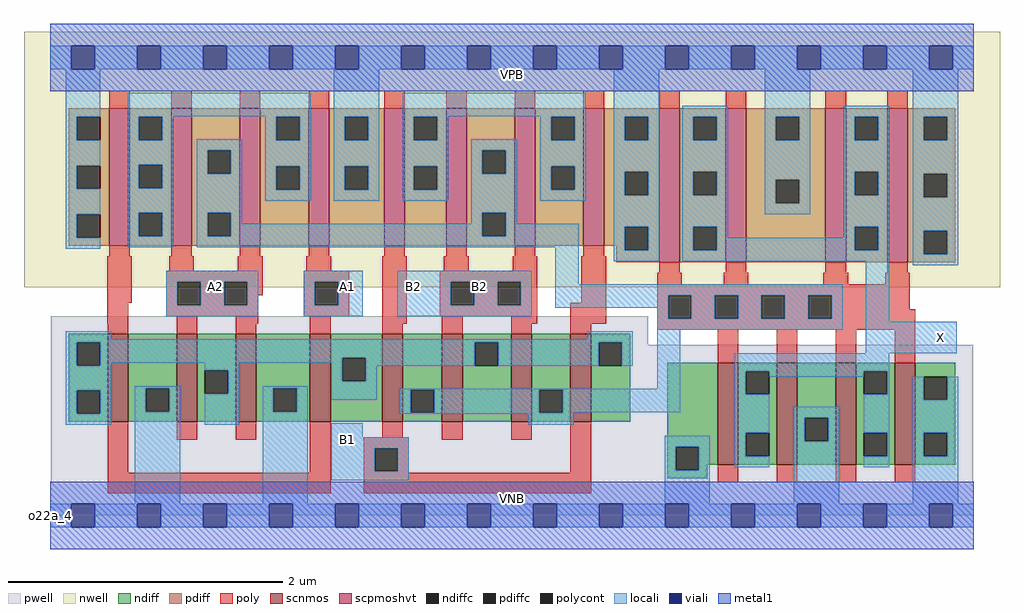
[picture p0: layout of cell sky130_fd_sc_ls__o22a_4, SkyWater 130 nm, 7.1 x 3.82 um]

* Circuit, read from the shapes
.subckt sky130_fd_sc_ls__o22a_4 A1 A2 B1 B2 VGND VNB VPB VPWR X
XM1 VGND A1 n1 VNB sky130_fd_pr__nfet_01v8 w=0.64 l=0.15 m=2
XM2 n1 A2 VGND VNB sky130_fd_pr__nfet_01v8 w=0.64 l=0.15 m=2
XM3 n2 B1 n1 VNB sky130_fd_pr__nfet_01v8 w=0.64 l=0.15 m=2
XM4 n1 B2 n2 VNB sky130_fd_pr__nfet_01v8 w=0.64 l=0.15 m=2
XM5 X n2 VGND VNB sky130_fd_pr__nfet_01v8 w=0.74 l=0.15 m=4
XM6 n3 A1 VPWR VPB sky130_fd_pr__pfet_01v8_hvt w=1 l=0.15 m=2
XM7 n2 A2 n3 VPB sky130_fd_pr__pfet_01v8_hvt w=1 l=0.15 m=2
XM8 n4 B1 VPWR VPB sky130_fd_pr__pfet_01v8_hvt w=1 l=0.15 m=2
XM9 n2 B2 n4 VPB sky130_fd_pr__pfet_01v8_hvt w=1 l=0.15 m=2
XM10 X n2 VPWR VPB sky130_fd_pr__pfet_01v8_hvt w=1.12 l=0.15 m=4
.ends

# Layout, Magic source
magic
tech sky130A
magscale 1 2
<< nwell >>
rect -38 332 1382 704
<< pwell >>
rect 1 248 870 290
rect 1 49 1343 248
rect 0 0 1344 49
<< scnmos >>
rect 84 136 114 264
rect 184 136 214 264
rect 270 136 300 264
rect 378 136 408 264
rect 483 136 513 264
rect 570 136 600 264
rect 671 136 701 264
rect 757 136 787 264
rect 971 74 1001 222
rect 1057 74 1087 222
rect 1143 74 1173 222
rect 1229 74 1259 222
<< scpmoshvt >>
rect 86 392 116 592
rect 176 392 206 592
rect 276 392 306 592
rect 376 392 406 592
rect 486 392 516 592
rect 576 392 606 592
rect 676 392 706 592
rect 776 392 806 592
rect 886 368 916 592
rect 983 368 1013 592
rect 1128 368 1158 592
rect 1218 368 1248 592
<< ndiff >>
rect 27 252 84 264
rect 27 218 39 252
rect 73 218 84 252
rect 27 182 84 218
rect 27 148 39 182
rect 73 148 84 182
rect 27 136 84 148
rect 114 185 184 264
rect 114 151 139 185
rect 173 151 184 185
rect 114 136 184 151
rect 214 211 270 264
rect 214 177 225 211
rect 259 177 270 211
rect 214 136 270 177
rect 300 185 378 264
rect 300 151 325 185
rect 359 151 378 185
rect 300 136 378 151
rect 408 229 483 264
rect 408 195 425 229
rect 459 195 483 229
rect 408 136 483 195
rect 513 183 570 264
rect 513 149 525 183
rect 559 149 570 183
rect 513 136 570 149
rect 600 252 671 264
rect 600 218 618 252
rect 652 218 671 252
rect 600 136 671 218
rect 701 183 757 264
rect 701 149 712 183
rect 746 149 757 183
rect 701 136 757 149
rect 787 252 844 264
rect 787 218 798 252
rect 832 218 844 252
rect 787 136 844 218
rect 898 100 971 222
rect 898 66 910 100
rect 944 74 971 100
rect 1001 210 1057 222
rect 1001 176 1012 210
rect 1046 176 1057 210
rect 1001 120 1057 176
rect 1001 86 1012 120
rect 1046 86 1057 120
rect 1001 74 1057 86
rect 1087 142 1143 222
rect 1087 108 1098 142
rect 1132 108 1143 142
rect 1087 74 1143 108
rect 1173 210 1229 222
rect 1173 176 1184 210
rect 1218 176 1229 210
rect 1173 120 1229 176
rect 1173 86 1184 120
rect 1218 86 1229 120
rect 1173 74 1229 86
rect 1259 202 1317 222
rect 1259 168 1271 202
rect 1305 168 1317 202
rect 1259 120 1317 168
rect 1259 86 1271 120
rect 1305 86 1317 120
rect 1259 74 1317 86
rect 944 66 956 74
rect 898 54 956 66
<< pdiff >>
rect 27 580 86 592
rect 27 546 39 580
rect 73 546 86 580
rect 27 509 86 546
rect 27 475 39 509
rect 73 475 86 509
rect 27 438 86 475
rect 27 404 39 438
rect 73 404 86 438
rect 27 392 86 404
rect 116 580 176 592
rect 116 546 129 580
rect 163 546 176 580
rect 116 510 176 546
rect 116 476 129 510
rect 163 476 176 510
rect 116 440 176 476
rect 116 406 129 440
rect 163 406 176 440
rect 116 392 176 406
rect 206 531 276 592
rect 206 497 229 531
rect 263 497 276 531
rect 206 440 276 497
rect 206 406 229 440
rect 263 406 276 440
rect 206 392 276 406
rect 306 580 376 592
rect 306 546 329 580
rect 363 546 376 580
rect 306 508 376 546
rect 306 474 329 508
rect 363 474 376 508
rect 306 392 376 474
rect 406 580 486 592
rect 406 546 429 580
rect 463 546 486 580
rect 406 508 486 546
rect 406 474 429 508
rect 463 474 486 508
rect 406 392 486 474
rect 516 580 576 592
rect 516 546 529 580
rect 563 546 576 580
rect 516 508 576 546
rect 516 474 529 508
rect 563 474 576 508
rect 516 392 576 474
rect 606 531 676 592
rect 606 497 629 531
rect 663 497 676 531
rect 606 440 676 497
rect 606 406 629 440
rect 663 406 676 440
rect 606 392 676 406
rect 706 580 776 592
rect 706 546 729 580
rect 763 546 776 580
rect 706 508 776 546
rect 706 474 729 508
rect 763 474 776 508
rect 706 392 776 474
rect 806 580 886 592
rect 806 546 836 580
rect 870 546 886 580
rect 806 500 886 546
rect 806 466 836 500
rect 870 466 886 500
rect 806 420 886 466
rect 806 392 836 420
rect 824 386 836 392
rect 870 386 886 420
rect 824 368 886 386
rect 916 580 983 592
rect 916 546 936 580
rect 970 546 983 580
rect 916 500 983 546
rect 916 466 936 500
rect 970 466 983 500
rect 916 420 983 466
rect 916 386 936 420
rect 970 386 983 420
rect 916 368 983 386
rect 1013 580 1128 592
rect 1013 546 1056 580
rect 1090 546 1128 580
rect 1013 488 1128 546
rect 1013 454 1056 488
rect 1090 454 1128 488
rect 1013 368 1128 454
rect 1158 580 1218 592
rect 1158 546 1171 580
rect 1205 546 1218 580
rect 1158 500 1218 546
rect 1158 466 1171 500
rect 1205 466 1218 500
rect 1158 420 1218 466
rect 1158 386 1171 420
rect 1205 386 1218 420
rect 1158 368 1218 386
rect 1248 580 1317 592
rect 1248 546 1271 580
rect 1305 546 1317 580
rect 1248 497 1317 546
rect 1248 463 1271 497
rect 1305 463 1317 497
rect 1248 414 1317 463
rect 1248 380 1271 414
rect 1305 380 1317 414
rect 1248 368 1317 380
<< ndiffc >>
rect 39 218 73 252
rect 39 148 73 182
rect 139 151 173 185
rect 225 177 259 211
rect 325 151 359 185
rect 425 195 459 229
rect 525 149 559 183
rect 618 218 652 252
rect 712 149 746 183
rect 798 218 832 252
rect 910 66 944 100
rect 1012 176 1046 210
rect 1012 86 1046 120
rect 1098 108 1132 142
rect 1184 176 1218 210
rect 1184 86 1218 120
rect 1271 168 1305 202
rect 1271 86 1305 120
<< pdiffc >>
rect 39 546 73 580
rect 39 475 73 509
rect 39 404 73 438
rect 129 546 163 580
rect 129 476 163 510
rect 129 406 163 440
rect 229 497 263 531
rect 229 406 263 440
rect 329 546 363 580
rect 329 474 363 508
rect 429 546 463 580
rect 429 474 463 508
rect 529 546 563 580
rect 529 474 563 508
rect 629 497 663 531
rect 629 406 663 440
rect 729 546 763 580
rect 729 474 763 508
rect 836 546 870 580
rect 836 466 870 500
rect 836 386 870 420
rect 936 546 970 580
rect 936 466 970 500
rect 936 386 970 420
rect 1056 546 1090 580
rect 1056 454 1090 488
rect 1171 546 1205 580
rect 1171 466 1205 500
rect 1171 386 1205 420
rect 1271 546 1305 580
rect 1271 463 1305 497
rect 1271 380 1305 414
<< poly >>
rect 86 592 116 618
rect 176 592 206 618
rect 276 592 306 618
rect 376 592 406 618
rect 486 592 516 618
rect 576 592 606 618
rect 676 592 706 618
rect 776 592 806 618
rect 886 592 916 618
rect 983 592 1013 618
rect 1128 592 1158 618
rect 1218 592 1248 618
rect 86 377 116 392
rect 176 377 206 392
rect 276 377 306 392
rect 376 377 406 392
rect 486 377 516 392
rect 576 377 606 392
rect 676 377 706 392
rect 776 377 806 392
rect 83 309 119 377
rect 173 356 209 377
rect 273 356 309 377
rect 373 356 409 377
rect 169 340 309 356
rect 83 279 114 309
rect 169 306 185 340
rect 219 306 253 340
rect 287 320 309 340
rect 369 340 435 356
rect 287 306 303 320
rect 169 290 303 306
rect 369 306 385 340
rect 419 306 435 340
rect 369 290 435 306
rect 84 264 114 279
rect 184 264 214 290
rect 270 279 303 290
rect 270 264 300 279
rect 378 264 408 290
rect 483 279 519 377
rect 573 356 609 377
rect 673 356 709 377
rect 567 340 709 356
rect 567 306 583 340
rect 617 306 651 340
rect 685 306 709 340
rect 773 309 809 377
rect 886 353 916 368
rect 983 353 1013 368
rect 1128 353 1158 368
rect 1218 353 1248 368
rect 567 290 709 306
rect 483 264 513 279
rect 570 264 600 290
rect 671 279 709 290
rect 757 279 809 309
rect 883 336 919 353
rect 980 336 1016 353
rect 1125 336 1161 353
rect 1215 336 1251 353
rect 883 320 1251 336
rect 883 286 899 320
rect 933 286 967 320
rect 1001 286 1035 320
rect 1069 286 1103 320
rect 1137 300 1251 320
rect 1137 286 1259 300
rect 671 264 701 279
rect 757 264 787 279
rect 883 270 1259 286
rect 971 222 1001 270
rect 1057 222 1087 270
rect 1143 222 1173 270
rect 1229 222 1259 270
rect 84 62 114 136
rect 184 110 214 136
rect 270 110 300 136
rect 378 62 408 136
rect 483 114 513 136
rect 84 32 408 62
rect 456 98 522 114
rect 570 110 600 136
rect 671 110 701 136
rect 456 64 472 98
rect 506 64 522 98
rect 456 62 522 64
rect 757 62 787 136
rect 456 32 787 62
rect 971 48 1001 74
rect 1057 48 1087 74
rect 1143 48 1173 74
rect 1229 48 1259 74
<< polycont >>
rect 185 306 219 340
rect 253 306 287 340
rect 385 306 419 340
rect 583 306 617 340
rect 651 306 685 340
rect 899 286 933 320
rect 967 286 1001 320
rect 1035 286 1069 320
rect 1103 286 1137 320
rect 472 64 506 98
<< locali >>
rect 0 649 31 683
rect 65 649 127 683
rect 161 649 223 683
rect 257 649 319 683
rect 353 649 415 683
rect 449 649 511 683
rect 545 649 607 683
rect 641 649 703 683
rect 737 649 799 683
rect 833 649 895 683
rect 929 649 991 683
rect 1025 649 1087 683
rect 1121 649 1183 683
rect 1217 649 1279 683
rect 1313 649 1344 683
rect 23 580 73 649
rect 23 546 39 580
rect 23 509 73 546
rect 23 475 39 509
rect 23 438 73 475
rect 23 404 39 438
rect 23 388 73 404
rect 113 581 379 615
rect 113 580 179 581
rect 113 546 129 580
rect 163 546 179 580
rect 313 580 379 581
rect 113 510 179 546
rect 113 476 129 510
rect 163 476 179 510
rect 113 440 179 476
rect 113 406 129 440
rect 163 406 179 440
rect 113 390 179 406
rect 213 531 279 547
rect 213 497 229 531
rect 263 497 279 531
rect 213 440 279 497
rect 313 546 329 580
rect 363 546 379 580
rect 313 508 379 546
rect 313 474 329 508
rect 363 474 379 508
rect 313 458 379 474
rect 413 580 479 649
rect 413 546 429 580
rect 463 546 479 580
rect 413 508 479 546
rect 413 474 429 508
rect 463 474 479 508
rect 413 458 479 474
rect 513 581 779 615
rect 513 580 579 581
rect 513 546 529 580
rect 563 546 579 580
rect 713 580 779 581
rect 513 508 579 546
rect 513 474 529 508
rect 563 474 579 508
rect 513 458 579 474
rect 613 531 679 547
rect 613 497 629 531
rect 663 497 679 531
rect 213 406 229 440
rect 263 424 279 440
rect 613 440 679 497
rect 713 546 729 580
rect 763 546 779 580
rect 713 508 779 546
rect 713 474 729 508
rect 763 474 779 508
rect 713 458 779 474
rect 820 580 886 649
rect 820 546 836 580
rect 870 546 886 580
rect 820 500 886 546
rect 820 466 836 500
rect 870 466 886 500
rect 613 424 629 440
rect 263 406 629 424
rect 663 424 679 440
rect 663 406 769 424
rect 213 390 769 406
rect 169 340 303 356
rect 169 306 185 340
rect 219 306 253 340
rect 287 306 303 340
rect 169 290 303 306
rect 369 340 455 356
rect 369 306 385 340
rect 419 306 455 340
rect 369 290 455 306
rect 505 340 701 356
rect 505 306 583 340
rect 617 306 651 340
rect 685 306 701 340
rect 505 290 701 306
rect 735 336 769 390
rect 820 420 886 466
rect 820 386 836 420
rect 870 386 886 420
rect 820 370 886 386
rect 920 580 986 596
rect 920 546 936 580
rect 970 546 986 580
rect 920 500 986 546
rect 920 466 936 500
rect 970 466 986 500
rect 920 420 986 466
rect 1040 580 1106 649
rect 1040 546 1056 580
rect 1090 546 1106 580
rect 1040 488 1106 546
rect 1040 454 1056 488
rect 1090 454 1106 488
rect 1040 438 1106 454
rect 1155 580 1221 596
rect 1155 546 1171 580
rect 1205 546 1221 580
rect 1155 500 1221 546
rect 1155 466 1171 500
rect 1205 466 1221 500
rect 920 386 936 420
rect 970 404 986 420
rect 1155 420 1221 466
rect 1155 404 1171 420
rect 970 386 1171 404
rect 1205 386 1221 420
rect 920 370 1221 386
rect 735 320 1153 336
rect 735 302 899 320
rect 883 286 899 302
rect 933 286 967 320
rect 1001 286 1035 320
rect 1069 286 1103 320
rect 1137 286 1153 320
rect 883 270 1153 286
rect 1187 282 1221 370
rect 1255 580 1321 649
rect 1255 546 1271 580
rect 1305 546 1321 580
rect 1255 497 1321 546
rect 1255 463 1271 497
rect 1305 463 1321 497
rect 1255 414 1321 463
rect 1255 380 1271 414
rect 1305 380 1321 414
rect 1255 364 1321 380
rect 23 256 89 268
rect 782 256 848 268
rect 23 252 848 256
rect 23 218 39 252
rect 73 229 618 252
rect 73 222 425 229
rect 73 218 89 222
rect 23 182 89 218
rect 225 211 275 222
rect 23 148 39 182
rect 73 148 89 182
rect 23 132 89 148
rect 123 185 189 188
rect 123 151 139 185
rect 173 151 189 185
rect 123 17 189 151
rect 259 177 275 211
rect 409 195 425 222
rect 459 218 618 229
rect 652 218 798 252
rect 832 218 848 252
rect 459 195 475 218
rect 225 132 275 177
rect 309 185 375 188
rect 309 151 325 185
rect 359 151 375 185
rect 409 168 475 195
rect 883 184 917 270
rect 1187 236 1319 282
rect 509 183 917 184
rect 309 17 375 151
rect 509 149 525 183
rect 559 149 712 183
rect 746 150 917 183
rect 996 210 1221 236
rect 996 176 1012 210
rect 1046 202 1184 210
rect 746 149 762 150
rect 509 148 762 149
rect 409 114 455 134
rect 696 132 762 148
rect 996 120 1046 176
rect 1218 176 1221 210
rect 409 98 522 114
rect 409 64 472 98
rect 506 64 522 98
rect 409 51 522 64
rect 894 100 960 116
rect 894 66 910 100
rect 944 66 960 100
rect 996 86 1012 120
rect 996 70 1046 86
rect 1082 142 1148 158
rect 1082 108 1098 142
rect 1132 108 1148 142
rect 894 17 960 66
rect 1082 17 1148 108
rect 1184 120 1221 176
rect 1218 86 1221 120
rect 1184 70 1221 86
rect 1255 168 1271 202
rect 1305 168 1321 202
rect 1255 120 1321 168
rect 1255 86 1271 120
rect 1305 86 1321 120
rect 1255 17 1321 86
rect 0 -17 31 17
rect 65 -17 127 17
rect 161 -17 223 17
rect 257 -17 319 17
rect 353 -17 415 17
rect 449 -17 511 17
rect 545 -17 607 17
rect 641 -17 703 17
rect 737 -17 799 17
rect 833 -17 895 17
rect 929 -17 991 17
rect 1025 -17 1087 17
rect 1121 -17 1183 17
rect 1217 -17 1279 17
rect 1313 -17 1344 17
<< viali >>
rect 31 649 65 683
rect 127 649 161 683
rect 223 649 257 683
rect 319 649 353 683
rect 415 649 449 683
rect 511 649 545 683
rect 607 649 641 683
rect 703 649 737 683
rect 799 649 833 683
rect 895 649 929 683
rect 991 649 1025 683
rect 1087 649 1121 683
rect 1183 649 1217 683
rect 1279 649 1313 683
rect 31 -17 65 17
rect 127 -17 161 17
rect 223 -17 257 17
rect 319 -17 353 17
rect 415 -17 449 17
rect 511 -17 545 17
rect 607 -17 641 17
rect 703 -17 737 17
rect 799 -17 833 17
rect 895 -17 929 17
rect 991 -17 1025 17
rect 1087 -17 1121 17
rect 1183 -17 1217 17
rect 1279 -17 1313 17
<< metal1 >>
rect 0 683 1344 715
rect 0 649 31 683
rect 65 649 127 683
rect 161 649 223 683
rect 257 649 319 683
rect 353 649 415 683
rect 449 649 511 683
rect 545 649 607 683
rect 641 649 703 683
rect 737 649 799 683
rect 833 649 895 683
rect 929 649 991 683
rect 1025 649 1087 683
rect 1121 649 1183 683
rect 1217 649 1279 683
rect 1313 649 1344 683
rect 0 617 1344 649
rect 0 17 1344 49
rect 0 -17 31 17
rect 65 -17 127 17
rect 161 -17 223 17
rect 257 -17 319 17
rect 353 -17 415 17
rect 449 -17 511 17
rect 545 -17 607 17
rect 641 -17 703 17
rect 737 -17 799 17
rect 833 -17 895 17
rect 929 -17 991 17
rect 1025 -17 1087 17
rect 1121 -17 1183 17
rect 1217 -17 1279 17
rect 1313 -17 1344 17
rect 0 -49 1344 -17
<< labels >>
rlabel comment s 0 0 0 0 4 o22a_4
flabel pwell s 0 0 1344 49 0 FreeSans 200 0 0 0 VNB
port 6 nsew ground bidirectional
flabel nwell s 0 617 1344 666 0 FreeSans 200 0 0 0 VPB
port 7 nsew power bidirectional
flabel metal1 s 0 617 1344 666 0 FreeSans 340 0 0 0 VPWR
port 8 nsew power bidirectional abutment
flabel metal1 s 0 0 1344 49 0 FreeSans 340 0 0 0 VGND
port 5 nsew ground bidirectional abutment
flabel locali s 415 94 449 128 0 FreeSans 340 0 0 0 B1
port 3 nsew signal input
flabel locali s 1279 242 1313 276 0 FreeSans 340 0 0 0 X
port 9 nsew signal output
flabel locali s 415 316 449 350 0 FreeSans 340 0 0 0 A1
port 1 nsew signal input
flabel locali s 223 316 257 350 0 FreeSans 340 0 0 0 A2
port 2 nsew signal input
flabel locali s 511 316 545 350 0 FreeSans 340 0 0 0 B2
port 4 nsew signal input
flabel locali s 607 316 641 350 0 FreeSans 340 0 0 0 B2
port 4 nsew signal input
<< properties >>
string LEFsite unit
string LEFclass CORE
string FIXED_BBOX 0 0 1344 666
string GDS_FILE $PDKPATH/libs.ref/sky130_fd_sc_ls/gds/sky130_fd_sc_ls.gds
string LEFsymmetry X Y
string GDS_END 69422
string GDS_START 58446
<< end >>
